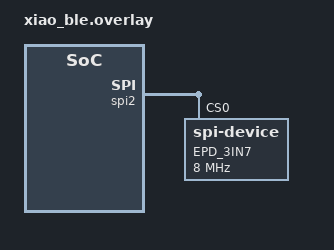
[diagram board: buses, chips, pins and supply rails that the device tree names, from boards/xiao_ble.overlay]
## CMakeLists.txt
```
cmake_minimum_required(VERSION 3.20.0)
find_package(Zephyr REQUIRED HINTS $ENV{ZEPHYR_BASE})
project(co2_low_power)


# Add your main application sources
target_sources(app PRIVATE
    src/main.c
    src/epd_3in7/epd_3in7.c
)
```

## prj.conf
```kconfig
CONFIG_SERIAL=y

CONFIG_UART_USE_RUNTIME_CONFIGURE=y

CONFIG_SPI=y
CONFIG_GPIO=y
CONFIG_LOG=y
```

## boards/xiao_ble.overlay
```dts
&spi2 {
    status = "okay";

    epd_3in7: epd_3in7@0 {
        compatible = "spi-device", "waveshare,epd_3in7";
        reg = <0>;
        spi-max-frequency = <8000000>;
        frame-format = "motorola";
        duplex = "full";

        label = "EPD_3IN7";
    };
};
```

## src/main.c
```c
#include "epd_3in7/epd_3in7.h"
#include <stdint.h>
#include <stdio.h>
#include <string.h>
#include <zephyr/device.h>
#include <zephyr/drivers/gpio.h>
#include <zephyr/drivers/uart.h>
#include <zephyr/kernel.h>
#include <zephyr/logging/log.h>
#include <zephyr/sys/printk.h>

LOG_MODULE_REGISTER(main, LOG_LEVEL_DBG);

#define READ_CO2_THREAD_STACK_SIZE 1024
#define READ_CO2_THREAD_PRIORITY 7

#define LED2_NODE DT_ALIAS(led2)

static const struct gpio_dt_spec led = GPIO_DT_SPEC_GET(LED2_NODE, gpios);

static const uint8_t mhz19c_read_cmd[9] = {0xFF, 0x01, 0x86, 0x00, 0x00,
                                           0x00, 0x00, 0x00, 0x79};

void read_co2_thread(void *arg1, void *arg2, void *arg3);
K_THREAD_DEFINE(read_co2_tid, READ_CO2_THREAD_STACK_SIZE, read_co2_thread, NULL,
                NULL, NULL, READ_CO2_THREAD_PRIORITY, 0, 0);

void toggle_led() {
  int ret = gpio_pin_toggle_dt(&led);
  if (ret < 0) {
    LOG_ERR("[LED]: Error while toggling LED\n");
  }
}

void read_co2_thread(void *arg1, void *arg2, void *arg3) {
  LOG_INF("Hello from read co2 thread!\n");
  const struct device *uart_dev = DEVICE_DT_GET(DT_NODELABEL(uart0));

  if (!device_is_ready(uart_dev)) {
    LOG_ERR("Error: UART device not ready.\n");
    return;
  }

  struct uart_config cfg = {
      .baudrate = 9600,
      .parity = UART_CFG_PARITY_NONE,
      .stop_bits = UART_CFG_STOP_BITS_1,
      .data_bits = UART_CFG_DATA_BITS_8,
      .flow_ctrl = UART_CFG_FLOW_CTRL_NONE,
  };

  if (uart_configure(uart_dev, &cfg) != 0) {
    LOG_ERR("Error: Unable to configure UART.\n");
    return;
  }

  uint8_t rx_buf[9];
  int co2_ppm = 0;

  while (1) {
    memset(rx_buf, 0, sizeof(rx_buf));

    // send 9-byte read command
    for (int i = 0; i < 9; i++) {
      toggle_led();
      uart_poll_out(uart_dev, mhz19c_read_cmd[i]);
    }

    // poll 9-byte response
    for (int i = 0; i < 9; i++) {
      toggle_led();
      while (uart_poll_in(uart_dev, &rx_buf[i]) < 0) {
        k_sleep(K_MSEC(10));
      }
    }

    // parse response
    if (rx_buf[0] == 0xFF && rx_buf[1] == 0x86) {
      co2_ppm = (rx_buf[2] << 8) | rx_buf[3];
      LOG_INF("CO2 = %d ppm\n", co2_ppm);
    } else {
      LOG_ERR("CO2 Sensor: Invalid response or checksum error.");
      printk("Raw response bytes: ");
      for (int i = 0; i < 9; i++) {
        printk("0x%02X ", rx_buf[i]);
      }
      printk("\n");

      co2_ppm = (rx_buf[2] << 8) | rx_buf[3];
      LOG_DBG("FAILED CHECKSUM CO2 = %d ppm", co2_ppm);
    }

    k_sleep(K_SECONDS(60));
  }
}

int main(void) {
  k_sleep(K_SECONDS(5));
  int ret;

  if (!gpio_is_ready_dt(&led)) {
    return 0;
  }

  ret = gpio_pin_configure_dt(&led, GPIO_OUTPUT_ACTIVE);
  if (ret < 0) {
    return 0;
  }

  LOG_INF("Hello from co2-low-power\n");

  epd_3in7_init();
  epd_3in7_clear();

  static uint8_t test_buffer[EPD_3IN7_WIDTH * EPD_3IN7_HEIGHT / 8];
  memset(test_buffer, 0x00, sizeof(test_buffer));
  epd_3in7_display(test_buffer);

  while (1) {
    k_sleep(K_SECONDS(5));
  }
}
```
